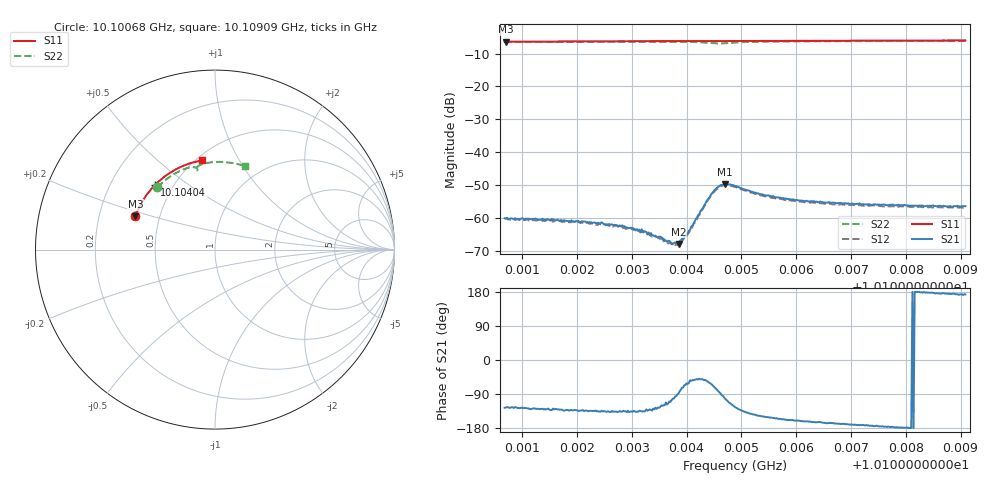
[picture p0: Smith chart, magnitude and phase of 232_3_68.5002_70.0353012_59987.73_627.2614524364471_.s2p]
#  HZ  S  RI  R  50.00
! Rohde & Schwarz Vector Network Analyzer
! Rohde-Schwarz,ZNB20-2Port,1311601062101988,3.16
! Created: UTC 3/20/2024, 4:59:00 PM
! freq[Hz]  re:S11  im:S11  re:S21  im:S21  re:S12  im:S12  re:S22  im:S22
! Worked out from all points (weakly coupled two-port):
!   401 points, 10.10068 GHz to 10.10909 GHz, reference 50 ohm
!   highest |S21| = -49.70 dB at 10.1047 GHz (marker M1); lowest = -67.9 dB at 10.10385 GHz (marker M2)
!   lowest |S11| = -6.4 dB at 10.1007 GHz (marker M3), VSWR 2.85, Z = 18.2 + j8.81 ohm
!   |S11| at or under -10 dB: nowhere
!   |S22| runs from -6.9 to -6.1 dB; largest |S21 - S12| = 0.00032
!   S11 on the Smith chart (normalised r, x): 10.10068 GHz: 0.36, +0.17; 10.10404 GHz: 0.40, +0.37; 10.10909 GHz: 0.54, +0.71
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1.0100681e10  -0.4438 0.1852  -0.000577 -0.000795  -0.000472 -0.000869  -0.3204 0.3484
1.0100702e10  -0.4431 0.1866  -0.000564 -0.000789  -0.0005 -0.00084  -0.3195 0.3495
1.0102089e10  -0.4078 0.2631  -0.000607 -0.000645  -0.000523 -0.00068  -0.2502 0.4068
1.0102762e10  -0.3861 0.2975  -0.000536 -0.00051  -0.000479 -0.000551  -0.2123 0.4296
1.0103224e10  -0.3694 0.3203  -0.000442 -0.000436  -0.000369 -0.000449  -0.1844 0.4435
1.0103498e10  -0.3588 0.3332  -0.000304 -0.000418  -0.000268 -0.000407  -0.1668 0.4504
1.0103603e10  -0.3546 0.3379  -0.000219 -0.000391  -0.000179 -0.000418  -0.1598 0.4529
1.010375e10  -0.3487 0.3447  -8.31e-05 -0.000396  -3.88e-05 -0.000394  -0.1496 0.456
1.0103813e10  -0.3462 0.3476  -3.89e-05 -0.000408  2.42e-05 -0.000408  -0.1449 0.4569
1.0103855e10  -0.3444 0.3494  1.25e-05 -0.000401  3.59e-05 -0.000389  -0.142 0.4576
1.0103981e10  -0.3392 0.355  0.000219 -0.000489  0.000234 -0.000421  -0.1323 0.4592
1.0104044e10  -0.3367 0.3578  0.000316 -0.000551  0.000338 -0.000491  -0.1274 0.4595
1.0104443e10  -0.3191 0.3746  0.00103 -0.00199  0.00116 -0.00183  -0.0984 0.4491
1.0104591e10  -0.3126 0.3805  0.000309 -0.00299  0.000575 -0.00285  -0.0992 0.4414
1.0104696e10  -0.3079 0.3847  -0.000613 -0.00322  -0.000305 -0.00312  -0.1036 0.4427
1.0104885e10  -0.2993 0.3922  -0.00171 -0.00252  -0.00143 -0.00257  -0.103 0.4551
1.0105242e10  -0.2824 0.4057  -0.00197 -0.00142  -0.00177 -0.0015  -0.0811 0.4725
1.0105536e10  -0.2681 0.4163  -0.0019 -0.00102  -0.00171 -0.00111  -0.0607 0.4796
1.0105873e10  -0.2511 0.4276  -0.00177 -0.000715  -0.00166 -0.000819  -0.0377 0.4843
1.0106293e10  -0.2292 0.4409  -0.00172 -0.000495  -0.0016 -0.00064  -0.00945 0.4876
1.0107701e10  -0.1519 0.4763  -0.00158 -9.69e-05  -0.00148 -0.000261  0.082 0.4849
1.0109088e10  -0.0708 0.4972  -0.00149 0.000182  -0.00141 5.15e-05  0.1684 0.465
